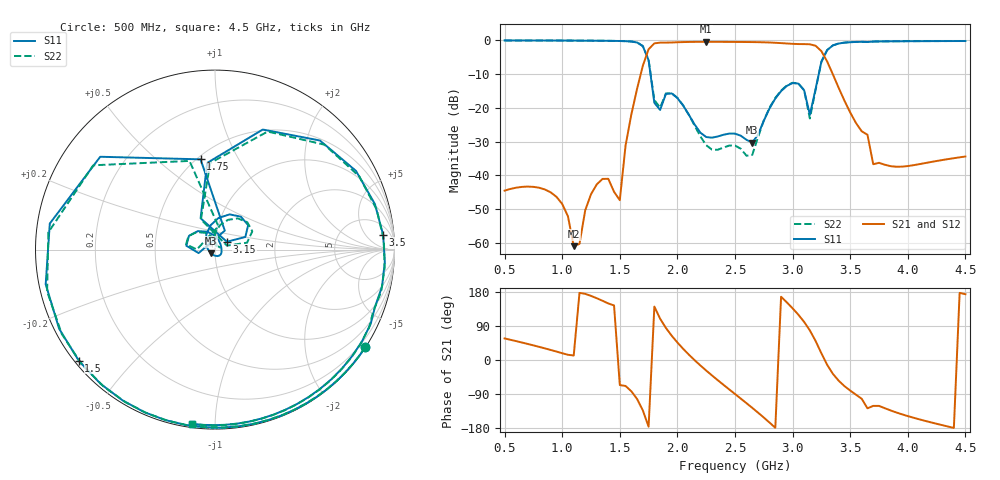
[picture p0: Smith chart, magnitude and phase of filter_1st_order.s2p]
! 2-port S-parameter data
! S-port 1 net1
! S-port 2 net2
# GHz S DB R 50
!freq dBS11 angS11 dBS21 angS21 dBS12 angS12 dBS22 angS22
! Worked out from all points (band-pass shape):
!   81 points, 500 MHz to 4.5 GHz, reference 50 ohm
!   highest |S21| = -0.42 dB at 2.25 GHz (marker M1); lowest = -60.9 dB at 1.1 GHz (marker M2)
!   |S21| within 3 dB of the highest: 1.742 GHz to 3.254 GHz (1.512 GHz wide, 60.5 % of centre)
!   lowest |S11| = -30.2 dB at 2.65 GHz (marker M3), VSWR 1.06, Z = 47.8 - j2.06 ohm
!   |S11| at or under -10 dB: 1.766 GHz to 3.227 GHz (1.461 GHz wide, 58.5 % of centre)
!   |S22| runs from -34.1 to 0.0 dB; largest |S21 - S12| = 1.6e-14
!   S11 on the Smith chart (normalised r, x): 500 MHz: 0.01, -3.37; 1.5 GHz: 0.01, -0.36; 1.75 GHz: 0.52, +0.71; 3.15 GHz: 1.14, +0.10; 3.5 GHz: 11, +15; 4.5 GHz: 0.02, -0.88
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0.5  -0.01 -33.1  -44.49 56.9  -44.49 56.9  -0.01 -32.9
0.95  -0.04 -68.1  -46.31 22.2  -46.31 22.2  -0.04 -67.6
1.1  -0.06 -82.5  -60.93 11.9  -60.93 11.9  -0.06 -81.9
1.2  -0.07 -93.6  -50.27 174.6  -50.27 174.6  -0.07 -92.8
1.35  -0.11 -113.5  -41.01 156.3  -41.01 156.3  -0.11 -112.5
1.5  -0.18 -140.8  -47.31 -66.2  -47.31 -66.2  -0.18 -139.2
1.65  -0.61 171.0  -14.30 -102.9  -14.30 -102.9  -0.60 174.1
1.75  -5.86 99.1  -2.61 -176.0  -2.61 -176.0  -5.78 106.0
1.85  -20.60 -168.0  -0.66 109.0  -0.66 109.0  -19.90 179.6
2.05  -19.29 113.3  -0.49 29.5  -0.49 29.5  -19.24 121.1
2.25  -28.61 19.1  -0.42 -27.8  -0.42 -27.8  -31.03 70.0
2.5  -27.61 -51.6  -0.45 -89.8  -0.45 -89.8  -31.12 21.1
2.65  -30.24 -135.5  -0.50 -126.4  -0.50 -126.4  -33.90 68.1
2.95  -13.46 67.5  -0.91 152.0  -0.91 152.0  -13.34 53.8
3.1  -14.75 22.6  -1.09 100.6  -1.09 100.6  -14.76 12.1
3.15  -22.02 33.4  -1.14 78.0  -1.14 78.0  -23.12 18.6
3.2  -14.32 114.7  -1.59 50.0  -1.59 50.0  -14.62 115.0
3.3  -2.85 68.3  -6.24 -12.8  -6.24 -12.8  -2.85 66.0
3.5  -0.53 5.0  -21.34 -80.8  -21.34 -80.8  -0.52 3.1
3.7  -0.34 -25.5  -36.67 -121.1  -36.67 -121.1  -0.34 -26.8
3.85  -0.27 -43.0  -37.23 -133.0  -37.23 -133.0  -0.26 -44.0
4.5  -0.18 -97.4  -34.38 173.6  -34.38 173.6  -0.18 -97.5
